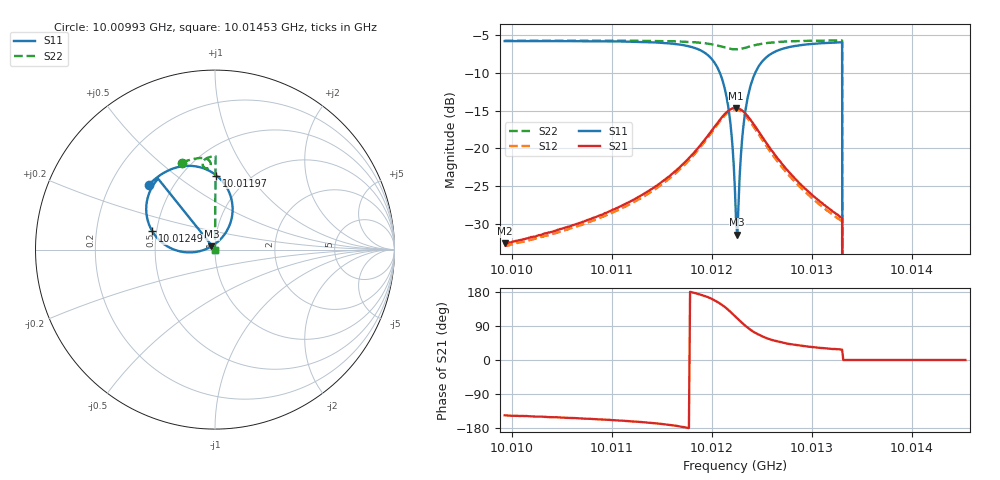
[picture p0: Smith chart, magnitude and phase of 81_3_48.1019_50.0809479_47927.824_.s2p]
#  HZ  S  RI  R  50.00
! Rohde & Schwarz Vector Network Analyzer
! Rohde-Schwarz,ZNB20-2Port,1311601062101988,3.16
! Created: UTC 12/23/2023, 3:42:46 AM
! freq[Hz]  re:S11  im:S11  re:S21  im:S21  re:S12  im:S12  re:S22  im:S22
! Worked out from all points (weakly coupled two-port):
!   401 points, 10.00993 GHz to 10.01453 GHz, reference 50 ohm
!   highest |S21| = -14.61 dB at 10.01224 GHz (marker M1); lowest = -32.6 dB at 10.00993 GHz (marker M2)
!   lowest |S11| = -31.5 dB at 10.01226 GHz (marker M3), VSWR 1.05, Z = 48 + j1.71 ohm
!   |S11| at or under -10 dB: 10.01208 GHz to 10.01243 GHz (350.9 kHz wide, 0.0035 % of centre); 10.0133 GHz to end of sweep
!   |S22| runs from - to -5.7 dB; largest |S21 - S12| = 0.0087
!   S11 on the Smith chart (normalised r, x): 10.00993 GHz: 0.37, +0.36; 10.01197 GHz: 0.72, +0.72; 10.01249 GHz: 0.47, +0.11; 10.01453 GHz: 1.00, +0.00
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1.0009931e10  -0.3689 0.361  -0.0194 -0.0131  -0.018 -0.0134  -0.1857 0.4843
1.0010702e10  -0.3131 0.4096  -0.0291 -0.014  -0.0273 -0.0149  -0.1362 0.5011
1.0011473e10  -0.2066 0.4598  -0.0567 -0.012  -0.0541 -0.0145  -0.0793 0.5105
1.0011795e10  -0.0975 0.4621  -0.0896 0.00133  -0.0866 -0.00337  -0.0491 0.5064
1.0011967e10  0.00803 0.4128  -0.119 0.0314  -0.1171 0.0247  -0.0308 0.4946
1.0012071e10  0.0791 0.3189  -0.1328 0.0742  -0.1332 0.0657  -0.0237 0.4791
1.001214e10  0.0979 0.2108  -0.1276 0.1152  -0.1297 0.1073  -0.0258 0.4654
1.0012198e10  0.0659 0.1042  -0.1034 0.1515  -0.1069 0.1439  -0.0344 0.4558
1.0012232e10  0.0202 0.0476  -0.0802 0.1678  -0.0846 0.1608  -0.0421 0.4529
1.0012244e10  0.0013 0.0318  -0.0716 0.1717  -0.0762 0.1646  -0.0449 0.4525
1.0012255e10  -0.0199 0.0178  -0.0624 0.1747  -0.0675 0.1677  -0.048 0.4526
1.0012267e10  -0.0411 0.00667  -0.0534 0.1766  -0.0582 0.1699  -0.0505 0.4532
1.0012313e10  -0.1332 -0.0156  -0.0176 0.1756  -0.0216 0.1698  -0.0604 0.458
1.0012347e10  -0.1975 -0.00951  0.00618 0.1673  0.0012 0.1616  -0.0653 0.464
1.0012405e10  -0.2821 0.0288  0.0348 0.1453  0.0289 0.1405  -0.0688 0.475
1.0012485e10  -0.3495 0.1024  0.0528 0.1128  0.0471 0.1095  -0.0665 0.4888
1.0012704e10  -0.3816 0.2533  0.0545 0.0567  0.0495 0.0561  -0.047 0.5089
1.0013003e10  -0.3507 0.3483  0.0406 0.0277  0.0373 0.028  -0.0201 0.5182
1.0013279e10  -0.3197 0.3924  0.0312 0.0165  0.0288 0.0172  0.0017 0.521
1.0013337e10  0 0  0 0  0 0  0 0
1.0013774e10  0 0  0 0  0 0  0 0
1.0014533e10  0 0  0 0  0 0  0 0
